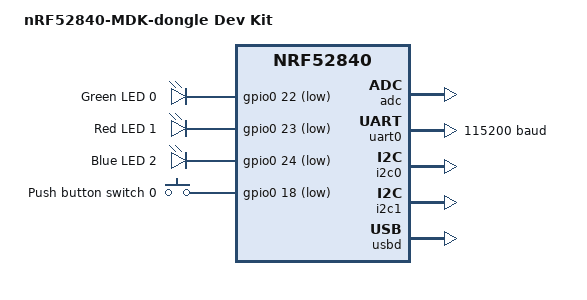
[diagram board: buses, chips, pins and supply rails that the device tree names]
/*
 * Copyright (c) 2021 Adam BZH (bzhthedeveloper@gmail.com)
 *
 * SPDX-License-Identifier: Apache-2.0
 */

/dts-v1/;
#include <nordic/nrf52840_qiaa.dtsi>

#include "nrf52840_mdk_dongle-pinctrl.dtsi"
/ {
	model = "nRF52840-MDK-dongle Dev Kit";
	compatible = "nordic,nRF52840-MDK-dongle";

	chosen {
		zephyr,console = &uart0;
		zephyr,shell-uart = &uart0;
		zephyr,uart-mcumgr = &uart0;
		zephyr,bt-mon-uart = &uart0;
		zephyr,bt-c2h-uart = &uart0;
		zephyr,sram = &sram0;
		zephyr,flash = &flash0;
		zephyr,code-partition = &code_partition;
	};

	leds {
		compatible = "gpio-leds";
		led0_green: led_0 {
			gpios = <&gpio0 22 GPIO_ACTIVE_LOW>;
			label = "Green LED 0";
		};
		led1_red: led_1 {
			gpios = <&gpio0 23 GPIO_ACTIVE_LOW>;
			label = "Red LED 1";
		};
		led2_blue: led_2 {
			gpios = <&gpio0 24 GPIO_ACTIVE_LOW>;
			label = "Blue LED 2";
		};
	};


	buttons {
		compatible = "gpio-keys";
		button0: button_0 {
			gpios = <&gpio0 18 (GPIO_PULL_UP | GPIO_ACTIVE_LOW)>;
			label = "Push button switch 0";
		};
	};

	/* These aliases are provided for compatibility with samples */
	aliases {
		sw0 = &button0;
		led0 = &led0_green;
		led1 = &led1_red;
		led2 = &led2_blue;
		led0-green = &led0_green;
		led1-red   = &led1_red;
		led1-blue  = &led2_blue;
	};
};

&adc {
	status = "okay";
};

&gpiote {
	status = "okay";
};

&gpio0 {
	status = "okay";
};

&gpio1 {
	status = "okay";
};



&uart0 {
	compatible = "nordic,nrf-uarte";
	status = "okay";
	current-speed = <115200>;
	pinctrl-0 = <&uart0_default>;
	pinctrl-1 = <&uart0_sleep>;
	pinctrl-names = "default", "sleep";
};

&i2c0 {
	compatible = "nordic,nrf-twi";
	status = "okay";
	pinctrl-0 = <&i2c0_default>;
	pinctrl-1 = <&i2c0_sleep>;

};

&i2c1 {
	compatible = "nordic,nrf-twi";
	status = "okay";

	pinctrl-0 = <&i2c1_default>;
	pinctrl-1 = <&i2c1_sleep>;

};

&flash0 {
	/*
	 * For more information, see:
	 * http://docs.zephyrproject.org/latest/devices/dts/flash_partitions.html
	 */
	partitions {
		compatible = "fixed-partitions";
		#address-cells = <1>;
		#size-cells = <1>;

		sd_partition: partition@0 {
			label = "mbr";
			reg = <0x00000000 0x00001000>;
		};
		code_partition: partition@1000 {
			label = "code_partition";
			reg = <0x00001000 0x000d3000>;
		};

		/*
		 * The flash starting at 0x000d4000 and ending at
		 * 0x000f3fff is reserved for use by the application.
		 */

		/*
		 * Storage partition will be used by FCB/LittleFS/NVS
		 * if enabled.
		 */
		storage_partition: partition@d4000 {
			label = "storage";
			reg = <0x000d4000 0x00020000>;
		};

		boot_partition: partition@f4000 {
			label = "adafruit_boot";
			reg = <0x000f4000 0x0000c000>;
		};
	};
};

&usbd {
	compatible = "nordic,nrf-usbd";
	status = "okay";
};
